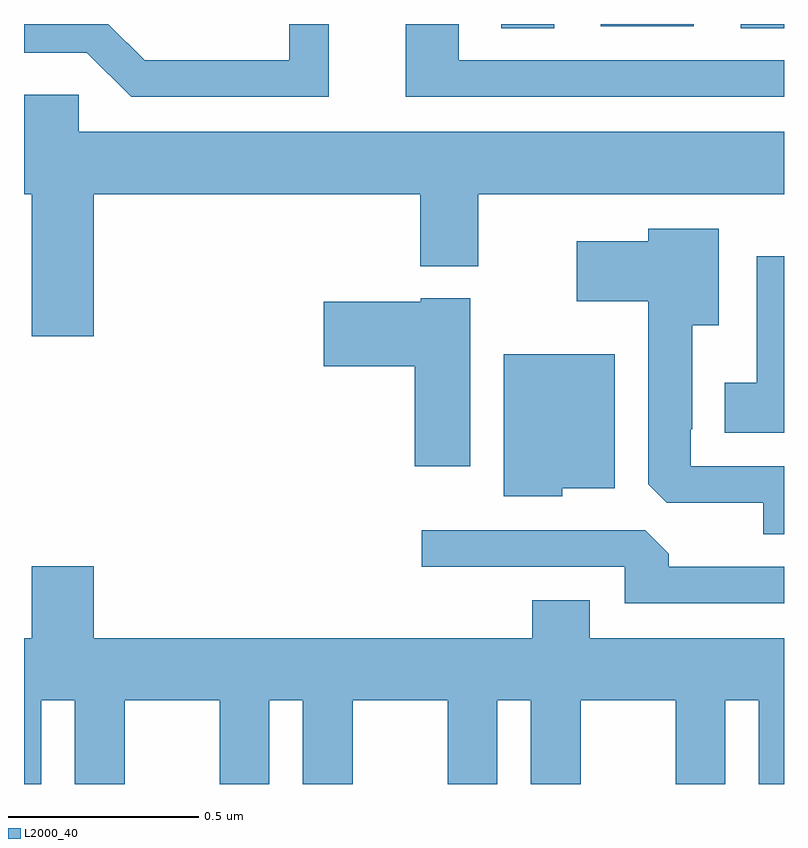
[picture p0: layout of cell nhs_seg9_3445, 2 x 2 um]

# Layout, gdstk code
import gdstk
lib = gdstk.Library(unit=1e-6, precision=1e-09)
def R(c, l, rs):  # rectangles x0, y0, x1, y1
    for r in rs: c.add(gdstk.rectangle(r[:2], r[2:], *l))
def P(c, l, *ps):  # polygons
    for p in ps: c.add(gdstk.Polygon(p, *l))
L2000_40 = (2000, 40)

nhs_seg9_3445 = lib.new_cell('nhs_seg9_3445')
R(nhs_seg9_3445, L2000_40, [(154.256,1231.489,154.396,1231.5), (154.886,1231.489,155,1231.5), (154.518,1231.494,154.762,1231.5)])
P(nhs_seg9_3445, L2000_40, [(155,1231.404),(154.144,1231.404),(154.144,1231.5),(154.004,1231.5),(154.004,1231.308),(155,1231.308)],
  [(153.802,1231.5),(153.698,1231.5),(153.698,1231.404),(153.318,1231.404),(153.222,1231.5),(153,1231.5),(153,1231.425),(153.165,1231.425),(153.282,1231.308),(153.802,1231.308)],
  [(153.184,1231.052),(154.043,1231.052),(154.043,1230.863),(154.195,1230.863),(154.195,1231.052),(155,1231.052),(155,1231.216),(153.144,1231.216),(153.144,1231.314),(153,1231.314),(153,1231.052),(153.02,1231.052),(153.02,1230.678),(153.184,1230.678)],
  [(155,1230.336),(154.755,1230.336),(154.755,1230.433),(154.759,1230.433),(154.759,1230.707),(154.828,1230.707),(154.828,1230.961),(154.643,1230.961),(154.643,1230.928),(154.455,1230.928),(154.455,1230.77),(154.643,1230.77),(154.643,1230.289),(154.692,1230.24),(154.946,1230.24),(154.946,1230.157),(155,1230.157)],
  [(155,1230.889),(154.928,1230.889),(154.928,1230.556),(154.844,1230.556),(154.844,1230.425),(155,1230.425)],
  [(154.174,1230.778),(154.044,1230.778),(154.044,1230.769),(153.789,1230.769),(153.789,1230.599),(154.028,1230.599),(154.028,1230.336),(154.174,1230.336)],
  [(154.416,1230.278),(154.555,1230.278),(154.555,1230.631),(154.262,1230.631),(154.262,1230.257),(154.416,1230.257)],
  [(155,1230.072),(154.697,1230.072),(154.697,1230.106),(154.635,1230.168),(154.047,1230.168),(154.047,1230.072),(154.581,1230.072),(154.581,1229.976),(155,1229.976)],
  [(153.046,1229.72),(153.134,1229.72),(153.134,1229.5),(153.265,1229.5),(153.265,1229.72),(153.515,1229.72),(153.515,1229.5),(153.646,1229.5),(153.646,1229.72),(153.734,1229.72),(153.734,1229.5),(153.865,1229.5),(153.865,1229.72),(154.115,1229.72),(154.115,1229.5),(154.246,1229.5),(154.246,1229.72),(154.334,1229.72),(154.334,1229.5),(154.465,1229.5),(154.465,1229.72),(154.715,1229.72),(154.715,1229.5),(154.846,1229.5),(154.846,1229.72),(154.934,1229.72),(154.934,1229.5),(155,1229.5),(155,1229.884),(154.489,1229.884),(154.489,1229.983),(154.337,1229.983),(154.337,1229.884),(153.184,1229.884),(153.184,1230.073),(153.02,1230.073),(153.02,1229.884),(153,1229.884),(153,1229.5),(153.046,1229.5)])

lib.write_gds('nhs_seg9_3445.gds')
